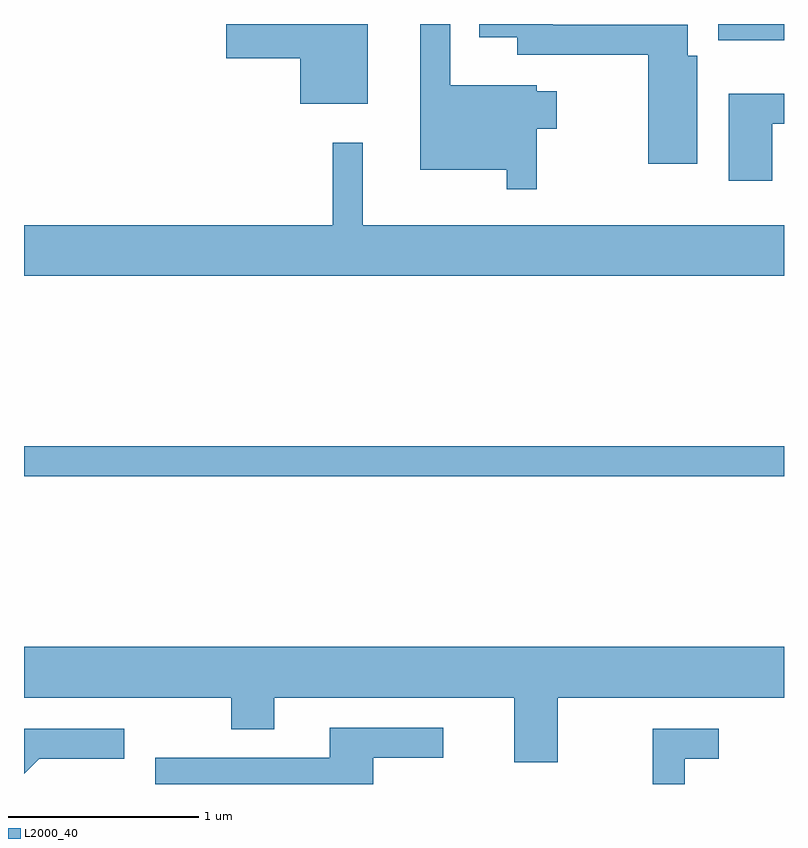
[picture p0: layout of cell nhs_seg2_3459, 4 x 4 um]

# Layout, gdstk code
import gdstk
lib = gdstk.Library(unit=1e-6, precision=1e-09)
def R(c, l, rs):  # rectangles x0, y0, x1, y1
    for r in rs: c.add(gdstk.rectangle(r[:2], r[2:], *l))
def P(c, l, *ps):  # polygons
    for p in ps: c.add(gdstk.Polygon(p, *l))
L2000_40 = (2000, 40)

nhs_seg2_3459 = lib.new_cell('nhs_seg2_3459')
R(nhs_seg2_3459, L2000_40, [(285.611,1109.421,289.611,1109.579), (289.266,1111.716,289.611,1111.802)])
P(nhs_seg2_3459, L2000_40, [(288.309,1111.251),(288.414,1111.251),(288.414,1111.449),(288.309,1111.449),(288.309,1111.479),(287.854,1111.479),(287.854,1111.802),(287.696,1111.802),(287.696,1111.036),(288.151,1111.036),(288.151,1110.933),(288.309,1110.933)],
  [(289.154,1111.634),(289.104,1111.634),(289.104,1111.799),(288.394,1111.799),(288.394,1111.802),(288.006,1111.802),(288.006,1111.731),(288.206,1111.731),(288.206,1111.641),(288.896,1111.641),(288.896,1111.066),(289.154,1111.066)],
  [(287.419,1111.802),(286.676,1111.802),(286.676,1111.621),(287.066,1111.621),(287.066,1111.381),(287.419,1111.381)],
  [(289.549,1111.276),(289.611,1111.276),(289.611,1111.434),(289.321,1111.434),(289.321,1110.976),(289.549,1110.976)],
  [(289.611,1110.744),(287.394,1110.744),(287.394,1111.178),(287.236,1111.178),(287.236,1110.744),(285.611,1110.744),(285.611,1110.476),(289.611,1110.476)],
  [(288.419,1108.256),(289.611,1108.256),(289.611,1108.524),(285.611,1108.524),(285.611,1108.256),(286.701,1108.256),(286.701,1108.091),(286.929,1108.091),(286.929,1108.256),(288.191,1108.256),(288.191,1107.916),(288.419,1107.916)],
  [(287.449,1107.941),(287.818,1107.941),(287.818,1108.099),(287.221,1108.099),(287.221,1107.939),(286.301,1107.939),(286.301,1107.802),(287.449,1107.802)],
  [(289.089,1107.936),(289.268,1107.936),(289.268,1108.094),(288.921,1108.094),(288.921,1107.802),(289.089,1107.802)],
  [(285.692,1107.936),(286.138,1107.936),(286.138,1108.094),(285.611,1108.094),(285.611,1107.856)])

lib.write_gds('nhs_seg2_3459.gds')
